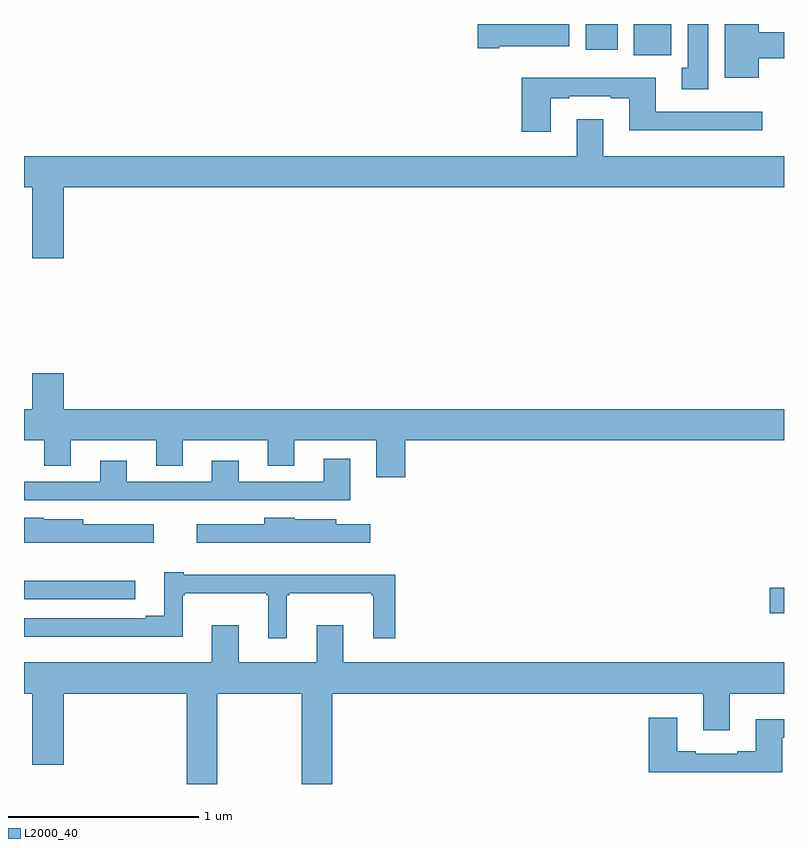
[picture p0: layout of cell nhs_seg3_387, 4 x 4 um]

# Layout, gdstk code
import gdstk
lib = gdstk.Library(unit=1e-6, precision=1e-09)
def R(c, l, rs):  # rectangles x0, y0, x1, y1
    for r in rs: c.add(gdstk.rectangle(r[:2], r[2:], *l))
def P(c, l, *ps):  # polygons
    for p in ps: c.add(gdstk.Polygon(p, *l))
L2000_40 = (2000, 40)

nhs_seg3_387 = lib.new_cell('nhs_seg3_387')
R(nhs_seg3_387, L2000_40, [(132.924,741.299,133,741.434), (129,741.372,129.586,741.47), (132.209,744.236,132.406,744.4), (131.957,744.264,132.124,744.4)])
P(nhs_seg3_387, L2000_40, [(132.601,744.4),(132.494,744.4),(132.494,744.17),(132.461,744.17),(132.461,744.057),(132.601,744.057)],
  [(131.5,744.284),(131.869,744.284),(131.869,744.4),(131.388,744.4),(131.388,744.272),(131.5,744.272)],
  [(132.868,744.22),(133,744.22),(133,744.356),(132.868,744.356),(132.868,744.4),(132.689,744.4),(132.689,744.116),(132.868,744.116)],
  [(131.773,744.009),(131.869,744.009),(131.869,744.021),(132.089,744.021),(132.089,744.009),(132.185,744.009),(132.185,743.84),(132.886,743.84),(132.886,743.937),(132.325,743.937),(132.325,744.118),(131.621,744.118),(131.621,743.832),(131.773,743.832)],
  [(129.208,743.54),(133,743.54),(133,743.704),(132.049,743.704),(132.049,743.899),(131.909,743.899),(131.909,743.704),(129,743.704),(129,743.54),(129.044,743.54),(129.044,743.166),(129.208,743.166)],
  [(131.006,742.208),(133,742.208),(133,742.372),(129.208,742.372),(129.208,742.561),(129.044,742.561),(129.044,742.372),(129,742.372),(129,742.208),(129.107,742.208),(129.107,742.075),(129.247,742.075),(129.247,742.208),(129.695,742.208),(129.695,742.075),(129.835,742.075),(129.835,742.208),(130.283,742.208),(130.283,742.075),(130.423,742.075),(130.423,742.208),(130.853,742.208),(130.853,742.014),(131.006,742.014)],
  [(130.717,742.111),(130.577,742.111),(130.577,741.99),(130.129,741.99),(130.129,742.102),(129.989,742.102),(129.989,741.99),(129.541,741.99),(129.541,742.102),(129.401,742.102),(129.401,741.99),(129,741.99),(129,741.894),(130.717,741.894)],
  [(129.682,741.768),(129.312,741.768),(129.312,741.793),(129.105,741.793),(129.105,741.802),(129,741.802),(129,741.671),(129.682,741.671)],
  [(130.822,741.768),(130.644,741.768),(130.644,741.793),(130.425,741.793),(130.425,741.802),(130.265,741.802),(130.265,741.768),(129.909,741.768),(129.909,741.671),(130.822,741.671)],
  [(130.384,741.393),(130.396,741.393),(130.396,741.404),(130.827,741.404),(130.827,741.393),(130.838,741.393),(130.838,741.168),(130.955,741.168),(130.955,741.502),(129.841,741.502),(129.841,741.514),(129.737,741.514),(129.737,741.286),(129.641,741.286),(129.641,741.273),(129,741.273),(129,741.176),(129.835,741.176),(129.835,741.393),(129.847,741.393),(129.847,741.404),(130.275,741.404),(130.275,741.393),(130.286,741.393),(130.286,741.168),(130.384,741.168)],
  [(130.017,740.876),(130.462,740.876),(130.462,740.4),(130.622,740.4),(130.622,740.876),(132.575,740.876),(132.575,740.682),(132.715,740.682),(132.715,740.876),(133,740.876),(133,741.04),(130.681,741.04),(130.681,741.235),(130.541,741.235),(130.541,741.04),(130.129,741.04),(130.129,741.235),(129.989,741.235),(129.989,741.04),(129,741.04),(129,740.876),(129.044,740.876),(129.044,740.502),(129.208,740.502),(129.208,740.876),(129.857,740.876),(129.857,740.4),(130.017,740.4)],
  [(132.991,740.643),(133,740.643),(133,740.74),(132.851,740.74),(132.851,740.572),(132.755,740.572),(132.755,740.559),(132.535,740.559),(132.535,740.572),(132.439,740.572),(132.439,740.749),(132.287,740.749),(132.287,740.462),(132.991,740.462)])

lib.write_gds('nhs_seg3_387.gds')
